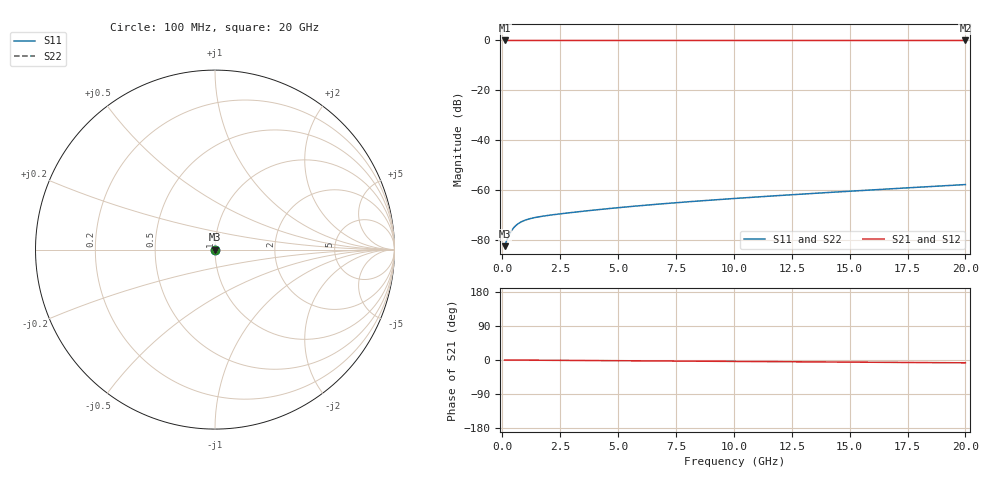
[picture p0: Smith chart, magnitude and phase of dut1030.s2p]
! Touchstone file exported from HFSS 2026.1.0
!  File:  C:/ffzhzh/LocalFiles/Ansys_Project_Files/temp_train_TSV_1030_1783189012_18472.aedt
!  Generated:  02:18:34 AM Jul  5, 2026
!  Design:  TSV
!  Project:  temp_train_TSV_1030_1783189012_18472
! Variables:
!  h_bsmrdl = 2um
!  h_ox = 20um
!  h_rdl = 5um
!  h_sub = 70.94um
!  h_tmrdl = 5um
!  h_tsv = 70.94um
!  h_via = 3um
!  l_bsmrdl = 300um
!  l_sub = 428.96um
!  l_tmrdl = 200um
!  m_sub = 200um
!  pitch = 56.83um
!  r_tsv = 14.48um
!  s_tmrdl = 10um
!  w_bsmrdl = 18um
!  w_sub = 500um
!  w_tmrdl = 12um
!  x_tsv_center1 = 206um
!  x_tsv_center2 = 524um
!  x_tsv_center3 = 736um
!  x_tsv_center4 = 1054um
!  x_tsv_center5 = 1266um
!  x_tsv_center6 = 1584um
# GHz S MA R 50.000000
! Terminal data exported
! Port[1] = TSV1_1_T1
! Port[2] = TSV1_1_T2
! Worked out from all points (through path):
!   200 points, 100 MHz to 20 GHz, reference 50 ohm
!   highest |S21| = 0.00 dB at 100 MHz (marker M1); lowest = 0.0 dB at 20 GHz (marker M2)
!   group delay of S21, straight-line fit = 1.03 ps
!   lowest |S11| = -82.5 dB at 100 MHz (marker M3), VSWR 1.00, Z = 50 + j0.00317 ohm
!   |S11| at or under -10 dB: start of sweep to end of sweep
!   |S22| runs from -82.5 to -57.8 dB; largest |S21 - S12| = 6.3e-15
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0.1  7.52e-05 24.9  0.9999 -0.0  0.9999 -0.0  7.52e-05 24.9
! Gamma 0 0 0 0
! Port Impedance 50 0 50 0
0.2  0.0001001 37.0  0.9999 -0.1  0.9999 -0.1  0.0001001 37.0
0.3  0.0001281 40.7  0.9999 -0.1  0.9999 -0.1  0.0001281 40.7
0.4  0.0001545 40.7  0.9999 -0.2  0.9999 -0.2  0.0001545 40.7
0.5  0.0001778 39.2  0.9999 -0.2  0.9999 -0.2  0.0001778 39.2
0.6  0.0001978 37.2  0.9998 -0.2  0.9998 -0.2  0.0001978 37.2
0.7  0.0002146 35.0  0.9998 -0.3  0.9998 -0.3  0.0002146 35.0
0.8  0.0002288 32.9  0.9998 -0.3  0.9998 -0.3  0.0002288 32.9
1  0.0002511 29.1  0.9998 -0.4  0.9998 -0.4  0.0002511 29.1
1.1  0.00026 27.4  0.9998 -0.4  0.9998 -0.4  0.00026 27.4
1.3  0.0002749 24.6  0.9998 -0.5  0.9998 -0.5  0.0002749 24.6
1.5  0.0002872 22.2  0.9997 -0.6  0.9997 -0.6  0.0002872 22.2
1.8  0.0003028 19.3  0.9997 -0.7  0.9997 -0.7  0.0003028 19.3
2.5  0.0003344 14.3  0.9997 -0.9  0.9997 -0.9  0.0003344 14.3
3.5  0.0003777 8.4  0.9996 -1.3  0.9996 -1.3  0.0003777 8.4
5.1  0.000449 -0.6  0.9996 -1.9  0.9996 -1.9  0.0004489 -0.6
6.8  0.0005265 -9.8  0.9995 -2.5  0.9995 -2.5  0.0005264 -9.8
8.3  0.0005964 -17.3  0.9994 -3.1  0.9994 -3.1  0.0005963 -17.3
10.1  0.0006835 -25.3  0.9994 -3.8  0.9994 -3.8  0.0006834 -25.3
13.4  0.0008573 -37.2  0.9993 -5.0  0.9993 -5.0  0.000857 -37.2
16.7  0.001057 -46.2  0.9992 -6.2  0.9992 -6.2  0.001056 -46.3
20  0.001291 -53.4  0.9991 -7.4  0.9991 -7.4  0.001291 -53.4
